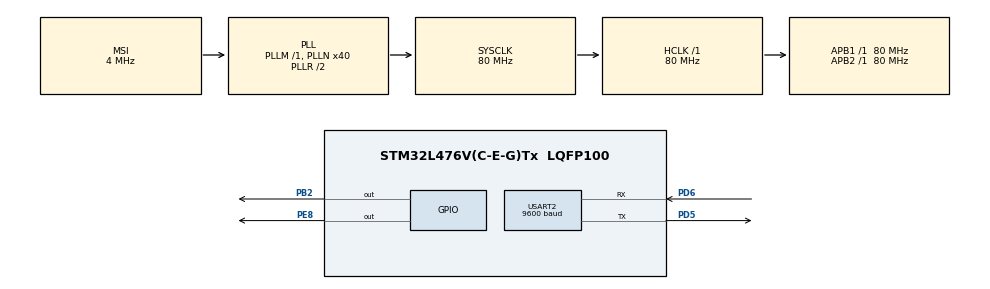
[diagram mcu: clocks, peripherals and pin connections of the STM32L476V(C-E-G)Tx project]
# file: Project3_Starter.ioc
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FREERTOS.Tasks01=defaultTask,0,128,StartDefaultTask,Default,NULL
FREERTOS.configTOTAL_HEAP_SIZE=8192
Mcu.Family=STM32L4
Mcu.Name=STM32L476V(C-E-G)Tx
Mcu.Package=LQFP100
NVIC.PriorityGroup=NVIC_PRIORITYGROUP_4
NVIC.TIM1_UP_TIM16_IRQn=true\:0\:0\:false\:false\:true\:false\:false
NVIC.TimeBase=TIM1_UP_TIM16_IRQn
NVIC.TimeBaseIP=TIM1
PB2.GPIO_Speed=GPIO_SPEED_FREQ_VERY_HIGH
PB2.Signal=GPIO_Output
PD5.Mode=Asynchronous
PD5.Signal=USART2_TX
PD6.Mode=Asynchronous
PD6.Signal=USART2_RX
PE8.GPIO_Speed=GPIO_SPEED_FREQ_VERY_HIGH
PE8.Signal=GPIO_Output
ProjectManager.HeapSize=0x8192
ProjectManager.StackSize=0x8000
ProjectManager.TargetToolchain=MDK-ARM V5
RCC.ADCFreq_Value=32000000
RCC.AHBFreq_Value=80000000
RCC.APB1Freq_Value=80000000
RCC.APB1TimFreq_Value=80000000
RCC.APB2Freq_Value=80000000
RCC.APB2TimFreq_Value=80000000
RCC.CortexFreq_Value=80000000
RCC.HCLKFreq_Value=80000000
RCC.HSE_VALUE=8000000
RCC.HSI_VALUE=16000000
RCC.LSE_VALUE=32768
RCC.MSI_VALUE=4000000
RCC.PLLN=40
RCC.PLLSAI1N=16
RCC.SYSCLKFreq_VALUE=80000000
RCC.SYSCLKSource=RCC_SYSCLKSOURCE_PLLCLK
RCC.USBFreq_Value=32000000
RCC.VCOOutputFreq_Value=160000000
USART2.BaudRate=9600
USART2.VirtualMode-Asynchronous=VM_ASYNC
VP_FREERTOS_VS_ENABLE.Mode=Enabled
VP_RNG_VS_RNG.Mode=RNG_Activate
VP_SYS_VS_tim1.Mode=TIM1
board=custom

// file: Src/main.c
/* USER CODE BEGIN Header */
/**
  ******************************************************************************
  * @file           : main.c
  * @brief          : Main program body
  ******************************************************************************
  * This notice applies to any and all portions of this file
  * that are not between comment pairs USER CODE BEGIN and
  * USER CODE END. Other portions of this file, whether
  * inserted by the user or by software development tools
  * are owned by their respective copyright owners.
  *
  * Copyright (c) 2019 STMicroelectronics International N.V.
  * All rights reserved.
  *
  * Redistribution and use in source and binary forms, with or without
  * modification, are permitted, provided that the following conditions are met:
  *
  * 1. Redistribution of source code must retain the above copyright notice,
  *    this list of conditions and the following disclaimer.
  * 2. Redistributions in binary form must reproduce the above copyright notice,
  *    this list of conditions and the following disclaimer in the documentation
  *    and/or other materials provided with the distribution.
  * 3. Neither the name of STMicroelectronics nor the names of other
  *    contributors to this software may be used to endorse or promote products
  *    derived from this software without specific written permission.
  * 4. This software, including modifications and/or derivative works of this
  *    software, must execute solely and exclusively on microcontroller or
  *    microprocessor devices manufactured by or for STMicroelectronics.
  * 5. Redistribution and use of this software other than as permitted under
  *    this license is void and will automatically terminate your rights under
  *    this license.
  *
  * THIS SOFTWARE IS PROVIDED BY STMICROELECTRONICS AND CONTRIBUTORS "AS IS"
  * AND ANY EXPRESS, IMPLIED OR STATUTORY WARRANTIES, INCLUDING, BUT NOT
  * LIMITED TO, THE IMPLIED WARRANTIES OF MERCHANTABILITY, FITNESS FOR A
  * PARTICULAR PURPOSE AND NON-INFRINGEMENT OF THIRD PARTY INTELLECTUAL PROPERTY
  * RIGHTS ARE DISCLAIMED TO THE FULLEST EXTENT PERMITTED BY LAW. IN NO EVENT
  * SHALL STMICROELECTRONICS OR CONTRIBUTORS BE LIABLE FOR ANY DIRECT, INDIRECT,
  * INCIDENTAL, SPECIAL, EXEMPLARY, OR CONSEQUENTIAL DAMAGES (INCLUDING, BUT NOT
  * LIMITED TO, PROCUREMENT OF SUBSTITUTE GOODS OR SERVICES; LOSS OF USE, DATA,
  * OR PROFITS; OR BUSINESS INTERRUPTION) HOWEVER CAUSED AND ON ANY THEORY OF
  * LIABILITY, WHETHER IN CONTRACT, STRICT LIABILITY, OR TORT (INCLUDING
  * NEGLIGENCE OR OTHERWISE) ARISING IN ANY WAY OUT OF THE USE OF THIS SOFTWARE,
  * EVEN IF ADVISED OF THE POSSIBILITY OF SUCH DAMAGE.
  *
  ******************************************************************************
  */
/* USER CODE END Header */

#include "main.h"
#include "cmsis_os.h"
#include "rng.h"
#include "usart.h"
#include "gpio.h"

/* USER CODE BEGIN Includes */
#include "led_task.h"           // needed for led_task_init
/* USER CODE END Includes */

/* USER CODE BEGIN PV */

	// Create the array of tellers (size three)
	Teller tellers[3];

	// Simulation Clock
	uint32_t simulation_clock;

	// Customer queue
	QueueHandle_t customer_queue;

	// Create three customer list arrays
	Customer teller0_customer_list[TELLER_LIST_OF_CUSTOMERS_LENGTH];
	Customer teller1_customer_list[TELLER_LIST_OF_CUSTOMERS_LENGTH];
	Customer teller2_customer_list[TELLER_LIST_OF_CUSTOMERS_LENGTH];

	// Create three break list arrays
	Break teller0_break_list[TELLER_LIST_OF_BREAKS_LENGTH];
	Break teller1_break_list[TELLER_LIST_OF_BREAKS_LENGTH];
	Break teller2_break_list[TELLER_LIST_OF_BREAKS_LENGTH];

	// Next customer time
	uint32_t next_customer_time;

	// All customers
	Customer all_customers[CUSTOMER_LIST_LENGTH];
	uint32_t all_customers_cnt;
	uint32_t max_customer_queue_cnt;

/* USER CODE END PV */

void SystemClock_Config(void);
void MX_FREERTOS_Init(void);

int main(void)
{
  /* USER CODE BEGIN 1 */

	// Simulation Clock
	simulation_clock = 0;

	// All customers
	all_customers_cnt = 0;
	max_customer_queue_cnt = 0;

	// Initialize the queue
	customer_queue = xQueueCreate(CUSTOMER_QUEUE_LENGTH, sizeof(Customer));
	if ( customer_queue == NULL )
	{
		USART_Printf("Failed to create queue\n\r");

		while(1){;;}
	}

	// For each teller, initialize IDLE and array counts to 0
	for (int i = 0; i < 3; i++)
	{
		tellers[i].status = Idle;
		tellers[i].serviced_customers_cnt = 0;
		tellers[i].break_cnt = 0;
	}

	// Assign a customer list array to each teller
	tellers[0].serviced_customers = teller0_customer_list;
	tellers[1].serviced_customers = teller1_customer_list;
	tellers[2].serviced_customers = teller2_customer_list;

	// Assign a break list array to each teller
	tellers[0].breaks = teller0_break_list;
	tellers[1].breaks = teller1_break_list;
	tellers[2].breaks = teller2_break_list;

  /* USER CODE END 1 */

  /* MCU Configuration--------------------------------------------------------*/

  /* Reset of all peripherals, Initializes the Flash interface and the Systick. */
  HAL_Init();

  /* Configure the system clock */
  SystemClock_Config();

  /* Initialize all configured peripherals */
  MX_GPIO_Init();
  MX_RNG_Init();
  MX_USART2_UART_Init();
  /* USER CODE BEGIN 2 */

	// Customer enqueue time
	// 	Default to 1-4 minutes after the bank opens
	next_customer_time = 0;
	{
		// Calculate a random time from 1 to 4 minutes
		uint32_t random_time;
		uint32_t min_time = MIN_BREAK_TIME;
		uint32_t max_time = MAX_BREAK_TIME;
		HAL_RNG_GenerateRandomNumber(&hrng, &random_time);
		random_time = min_time + (random_time % (max_time - min_time));

		next_customer_time = random_time;
	}

	// Plan initial breaks for each teller
	for (int i = 0; i < 3; i++)
	{
		// Calculate a random time from 30 to 60 minutes
		uint32_t random_time;
		uint32_t min_time = MIN_NEXT_BREAK_TIME;
		uint32_t max_time = MAX_NEXT_BREAK_TIME;
		HAL_RNG_GenerateRandomNumber(&hrng, &random_time);
		random_time = min_time + (random_time % (max_time - min_time));

		tellers[i].breaks[0].start_time = random_time;
		tellers[i].breaks[0].end_time = 0;
		tellers[i].break_cnt = 1;
	}

	// Start the update task
	update_task_init("UPDATE_TASK", &simulation_clock, &customer_queue, tellers);

	// Start the teller task
	teller_service_task_init("TELLER TASK 0", 0, &simulation_clock, &(tellers[0]), &customer_queue);
	teller_service_task_init("TELLER TASK 1", 1, &simulation_clock, &(tellers[1]), &customer_queue);
	teller_service_task_init("TELLER TASK 2", 2, &simulation_clock, &(tellers[2]), &customer_queue);

	// Customer enqueue task
	customer_enqueue_task_init("CUSTOMER ENQUEUE TASK", &simulation_clock, all_customers,
		&all_customers_cnt, &customer_queue, &max_customer_queue_cnt, &next_customer_time);

  // USART_Printf is printf() customized to this platform and uses a variable argugment list.
  // It is convenient but unnecessary.  You can use HAL functions (e.g. HAL_USART_Transmit())
  USART_Printf("System initialized, starting FreeRTOS\r\n");
  /* USER CODE END 2 */

  /* Call init function for freertos objects (in freertos.c) */
  MX_FREERTOS_Init();

  /* Start scheduler */
  osKernelStart();

  /* We should never get here as control is now taken by the scheduler */

  /* Infinite loop */
  while (1)
  {

  }
}

void SystemClock_Config(void)
{
  RCC_OscInitTypeDef RCC_OscInitStruct = {0};
  RCC_ClkInitTypeDef RCC_ClkInitStruct = {0};
  RCC_PeriphCLKInitTypeDef PeriphClkInit = {0};

  /**Initializes the CPU, AHB and APB busses clocks
  */
  RCC_OscInitStruct.OscillatorType = RCC_OSCILLATORTYPE_MSI;
  RCC_OscInitStruct.MSIState = RCC_MSI_ON;
  RCC_OscInitStruct.MSICalibrationValue = 0;
  RCC_OscInitStruct.MSIClockRange = RCC_MSIRANGE_6;
  RCC_OscInitStruct.PLL.PLLState = RCC_PLL_ON;
  RCC_OscInitStruct.PLL.PLLSource = RCC_PLLSOURCE_MSI;
  RCC_OscInitStruct.PLL.PLLM = 1;
  RCC_OscInitStruct.PLL.PLLN = 40;
  RCC_OscInitStruct.PLL.PLLP = RCC_PLLP_DIV7;
  RCC_OscInitStruct.PLL.PLLQ = RCC_PLLQ_DIV2;
  RCC_OscInitStruct.PLL.PLLR = RCC_PLLR_DIV2;
  if (HAL_RCC_OscConfig(&RCC_OscInitStruct) != HAL_OK)
  {
    Error_Handler();
  }
  /**Initializes the CPU, AHB and APB busses clocks
  */
  RCC_ClkInitStruct.ClockType = RCC_CLOCKTYPE_HCLK|RCC_CLOCKTYPE_SYSCLK
                              |RCC_CLOCKTYPE_PCLK1|RCC_CLOCKTYPE_PCLK2;
  RCC_ClkInitStruct.SYSCLKSource = RCC_SYSCLKSOURCE_PLLCLK;
  RCC_ClkInitStruct.AHBCLKDivider = RCC_SYSCLK_DIV1;
  RCC_ClkInitStruct.APB1CLKDivider = RCC_HCLK_DIV1;
  RCC_ClkInitStruct.APB2CLKDivider = RCC_HCLK_DIV1;

  if (HAL_RCC_ClockConfig(&RCC_ClkInitStruct, FLASH_LATENCY_4) != HAL_OK)
  {
    Error_Handler();
  }
  PeriphClkInit.PeriphClockSelection = RCC_PERIPHCLK_USART2|RCC_PERIPHCLK_RNG;
  PeriphClkInit.Usart2ClockSelection = RCC_USART2CLKSOURCE_PCLK1;
  PeriphClkInit.RngClockSelection = RCC_RNGCLKSOURCE_PLLSAI1;
  PeriphClkInit.PLLSAI1.PLLSAI1Source = RCC_PLLSOURCE_MSI;
  PeriphClkInit.PLLSAI1.PLLSAI1M = 1;
  PeriphClkInit.PLLSAI1.PLLSAI1N = 16;
  PeriphClkInit.PLLSAI1.PLLSAI1P = RCC_PLLP_DIV7;
  PeriphClkInit.PLLSAI1.PLLSAI1Q = RCC_PLLQ_DIV2;
  PeriphClkInit.PLLSAI1.PLLSAI1R = RCC_PLLR_DIV2;
  PeriphClkInit.PLLSAI1.PLLSAI1ClockOut = RCC_PLLSAI1_48M2CLK;
  if (HAL_RCCEx_PeriphCLKConfig(&PeriphClkInit) != HAL_OK)
  {
    Error_Handler();
  }
  /**Configure the main internal regulator output voltage
  */
  if (HAL_PWREx_ControlVoltageScaling(PWR_REGULATOR_VOLTAGE_SCALE1) != HAL_OK)
  {
    Error_Handler();
  }
}

/* USER CODE BEGIN 4 */

void DisplayMetrics()
{
	// Print metrics

	// Print the total number of customers served during the day
	USART_Printf("Total number of customers: %d \n\r", all_customers_cnt);

	// The number of customers served by each teller
	USART_Printf("Teller 0's number of customers: %d\n\r", tellers[0].serviced_customers_cnt);
	USART_Printf("Teller 1's number of customers: %d\n\r", tellers[1].serviced_customers_cnt);
	USART_Printf("Teller 2's number of customers: %d\n\r", tellers[2].serviced_customers_cnt);

	// The average time each customer spends waiting in the queue.
	uint32_t maxTimeCustomerWaitingInQueue = 0;
	uint32_t totalTimeCustomerWaitingInQueue = 0;
	for (int i = 0; i < all_customers_cnt; i++)
	{
		// The time each customer spends waiting in the queue is the
		//		difference between their service start time and arrival time
		uint32_t timeWaiting = all_customers[i].service_start_time - all_customers[i].arrival_time;

		totalTimeCustomerWaitingInQueue += timeWaiting;

		if (timeWaiting > maxTimeCustomerWaitingInQueue)
			maxTimeCustomerWaitingInQueue = timeWaiting;
	}
	uint32_t avgTimeCustomerWaitingInQueue = totalTimeCustomerWaitingInQueue / all_customers_cnt;
	USART_Printf("Average time customer spends waiting ");
	USART_Printf("in the queue: %d seconds\n\r", avgTimeCustomerWaitingInQueue);

	// The average time each customer spends with the teller.
	uint32_t totalTimeCustomerServiced = 0;
	for (int i = 0; i < all_customers_cnt; i++)
	{
		// The time each customer spends waiting in the queue is the
		//		difference between their service start time and arrival time
		totalTimeCustomerServiced = all_customers[i].service_end_time - all_customers[i].service_start_time;
	}
	uint32_t avgTimeCustomerServiced = totalTimeCustomerServiced / all_customers_cnt;
	USART_Printf("Average time customer spends ");
	USART_Printf("with the teller: %d seconds\n\r", avgTimeCustomerServiced);

	// The average time tellers wait for customers.
	uint32_t maxTimeWaitingForCustomer = 0;
	uint32_t totalTimeWaitingForCustomer = 0;
	for (int id = 0; id < 3; id++)
	{
		Teller teller = tellers[id];

		if (teller.serviced_customers_cnt > 0)
		{
			// The first customer's wait time is from 0 to their service start time
			uint32_t firstCustomerWait = teller.serviced_customers[0].service_start_time;
			totalTimeWaitingForCustomer += firstCustomerWait;

			if (firstCustomerWait > maxTimeWaitingForCustomer)
					maxTimeWaitingForCustomer = firstCustomerWait;

			for (int i = 1; i < teller.serviced_customers_cnt; i++)
			{
				// Subsequent customer's wait time is from previous's end time to
				//		next start time
				uint32_t timeWaiting = teller.serviced_customers[i].service_start_time
					- teller.serviced_customers[i-1].service_end_time ;
				totalTimeWaitingForCustomer += timeWaiting;

				if (timeWaiting > maxTimeWaitingForCustomer)
					maxTimeWaitingForCustomer = timeWaiting;
			}
		}
	}
	uint32_t avgTimeWaitingForCustomer = totalTimeWaitingForCustomer / all_customers_cnt;
	USART_Printf("Average time teller waits for ");
	USART_Printf("customers: %d seconds\n\r", avgTimeWaitingForCustomer);

	// The maximum customer wait time in the queue.
	USART_Printf("Maximum time customer spends ");
	USART_Printf("waiting in the queue: %d seconds\n\r", maxTimeCustomerWaitingInQueue);

	// The maximum wait time for tellers waiting for customers.
	USART_Printf("Maximum time teller waits ");
	USART_Printf("for customers: %d seconds\n\r", maxTimeWaitingForCustomer);

	// The maximum transaction time for the tellers.
	for (int id = 0; id < 3; id++)
	{
		Teller teller = tellers[id];

		uint32_t maxBusyTime = 0;
		for (int i = 0; i < teller.serviced_customers_cnt; i++)
		{
			// The busy time is the difference between end service time and start service time
			uint32_t busyTime = teller.serviced_customers[i].service_end_time - teller.serviced_customers[i].service_start_time;

			if (busyTime > maxBusyTime)
				maxBusyTime = busyTime;
		}

		USART_Printf("Teller %d's maximum transaction ");
		USART_Printf("time: %d seconds\n\r", id, maxBusyTime);
	}

	// The maximum depth of the customer queue.
	USART_Printf("Maximum depth of the customer ");
	USART_Printf("queue: %d\n\r", max_customer_queue_cnt);

	for (int id = 0; id < 3; id++)
	{
		Teller teller = tellers[id];

		uint32_t totalBreakTime = 0;
		uint32_t minBreakTime = 0;
		uint32_t maxBreakTime = 0;

		for (int i = 0; i < teller.break_cnt; i++)
		{
			// Break time is the difference between the break's end time and start time
			uint32_t break_time = teller.breaks[i].end_time - teller.breaks[i].start_time;

			totalBreakTime += break_time;

			// Update max break time
			if (break_time > maxBreakTime)
			{
				maxBreakTime = break_time;
			}

			// Update min break time
			if (i == 0)
			{
				// First break -> auto set to minimum
				minBreakTime = break_time;
			}
			else
			{
				// Subsequent breaks -> compare to minimum
				if (break_time < minBreakTime)
				{
					minBreakTime = break_time;
				}
			}
		}

		uint32_t avgBreakTime = totalBreakTime / teller.break_cnt;

		// Number of breaks for each of the three tellers
		USART_Printf("Teller %d's number of breaks: %d\n\r", id, teller.break_cnt);

		// Average break time for each of the three tellers
		USART_Printf("Teller %d's average break time: %d\n\r", id, avgBreakTime);

		// Longest break time for each of the three tellers
		USART_Printf("Teller %d's longest break time: %d\n\r", id, maxBreakTime);

		// Shortest break time for each of the three tellers
		USART_Printf("Teller %d's shortest break time: %d\n\r", id, minBreakTime);
	}

}

/**
	* Helper function to check if the bank is open
	*/
uint8_t IsBankOpen(void)
{
	if (simulation_clock >= BANK_START_TIME && simulation_clock <= BANK_CLOSE_TIME)
	{
		return 1;
	}
	else
	{
		return 0;
	}
}

/* USER CODE END 4 */

void HAL_TIM_PeriodElapsedCallback(TIM_HandleTypeDef *htim)
{
  if (htim->Instance == TIM1) {
    HAL_IncTick();
  }
}

void Error_Handler(void)
{
}

/************************ (C) COPYRIGHT STMicroelectronics *****END OF FILE****/
